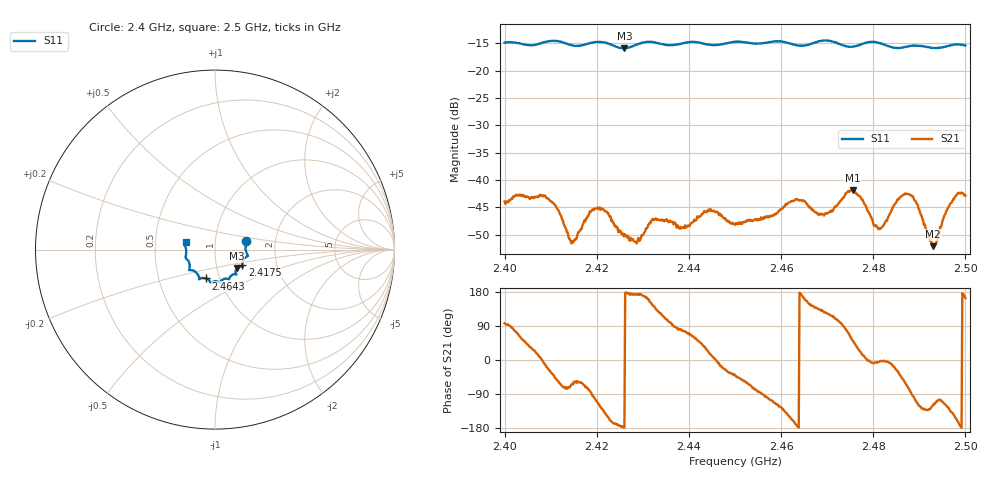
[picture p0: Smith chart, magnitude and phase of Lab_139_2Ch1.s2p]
# Hz S RI R 50
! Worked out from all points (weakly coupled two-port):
!   601 points, 2.4 GHz to 2.5 GHz, reference 50 ohm
!   highest |S21| = -41.80 dB at 2.4755 GHz (marker M1); lowest = -52.1 dB at 2.493 GHz (marker M2)
!   lowest |S11| = -15.9 dB at 2.426 GHz (marker M3), VSWR 1.38, Z = 62.2 - j13.3 ohm
!   |S11| at or under -10 dB: start of sweep to end of sweep
!   S12 and S22 are empty: the file has one direction only
!   S11 on the Smith chart (normalised r, x): 2.4 GHz: 1.41, +0.14; 2.4175 GHz: 1.33, -0.23; 2.4643 GHz: 0.86, -0.28; 2.5 GHz: 0.72, +0.06
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2.4e9  0.1736 0.0489  -0.000757 0.00633  0 0  0 0
2.408333e9  0.1787 -0.0236  0.00705 -0.000557  0 0  0 0
2.4145e9  0.1632 -0.0501  0.00114 -0.00237  0 0  0 0
2.416667e9  0.1527 -0.074  0.00181 -0.00304  0 0  0 0
2.4175e9  0.1517 -0.0837  0.00132 -0.00397  0 0  0 0
2.421167e9  0.1543 -0.0968  -0.00346 -0.00427  0 0  0 0
2.426e9  0.1208 -0.1046  -0.00321 -0.000101  0 0  0 0
2.428833e9  0.115 -0.1305  -0.00277 0.000256  0 0  0 0
2.433333e9  0.1133 -0.1371  -0.00272 0.0034  0 0  0 0
2.4385e9  0.0811 -0.1572  0.000814 0.00357  0 0  0 0
2.445e9  0.056 -0.1616  0.0051 0.000942  0 0  0 0
2.45e9  0.0285 -0.1813  0.00297 -0.00252  0 0  0 0
2.464333e9  -0.0501 -0.1607  -0.00646 0.000732  0 0  0 0
2.466667e9  -0.0763 -0.1589  -0.00431 0.00314  0 0  0 0
2.469833e9  -0.0891 -0.1661  -0.00278 0.00415  0 0  0 0
2.4755e9  -0.111 -0.1222  0.00508 0.00635  0 0  0 0
2.480667e9  -0.1437 -0.1109  0.00382 -0.000404  0 0  0 0
2.483333e9  -0.1407 -0.0897  0.00462 -0.000513  0 0  0 0
2.488167e9  -0.1611 -0.0483  0.000451 -0.00721  0 0  0 0
2.493e9  -0.1605 -0.0138  -0.00122 -0.00217  0 0  0 0
2.496833e9  -0.1683 0.0265  -0.00448 -0.00423  0 0  0 0
2.5e9  -0.1643 0.0427  -0.0069 0.00207  0 0  0 0
